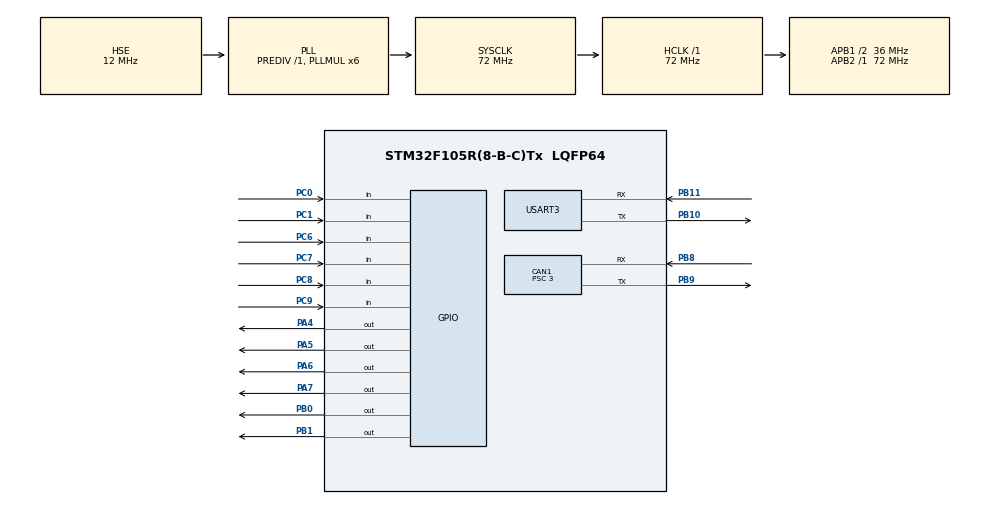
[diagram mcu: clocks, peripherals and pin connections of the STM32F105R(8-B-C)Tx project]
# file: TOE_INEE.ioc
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CAN1.ABOM=ENABLE
CAN1.BS1=CAN_BS1_6TQ
CAN1.BS2=CAN_BS2_5TQ
CAN1.CalculateTimeBit=1000
CAN1.CalculateTimeQuantum=83.33333333333334
CAN1.Prescaler=3
CAN1.TXFP=ENABLE
Dma.Request0=USART3_RX
Dma.USART3_RX.0.Direction=DMA_PERIPH_TO_MEMORY
Dma.USART3_RX.0.Instance=DMA1_Channel3
Dma.USART3_RX.0.MemDataAlignment=DMA_MDATAALIGN_BYTE
Dma.USART3_RX.0.MemInc=DMA_MINC_ENABLE
Dma.USART3_RX.0.Mode=DMA_CIRCULAR
Dma.USART3_RX.0.PeriphDataAlignment=DMA_PDATAALIGN_BYTE
Dma.USART3_RX.0.PeriphInc=DMA_PINC_DISABLE
Dma.USART3_RX.0.Priority=DMA_PRIORITY_LOW
FREERTOS.INCLUDE_vTaskDelayUntil=1
FREERTOS.Tasks01=defaultTask,-3,256,debugThread,Default,NULL,Dynamic,NULL,NULL;PidThread,-3,256,pidThread,As weak,NULL,Dynamic,NULL,NULL;MainTask,-3,256,mainThread,As weak,NULL,Dynamic,NULL,NULL;MinorTak,-3,128,minorThread,As weak,NULL,Dynamic,NULL,NULL
Mcu.Family=STM32F1
Mcu.Name=STM32F105R(8-B-C)Tx
Mcu.Package=LQFP64
NVIC.CAN1_RX0_IRQn=true\:5\:0\:false\:false\:true\:true\:true\:true
NVIC.CAN1_TX_IRQn=true\:5\:0\:false\:false\:true\:true\:true\:true
NVIC.DMA1_Channel3_IRQn=true\:5\:0\:false\:false\:true\:true\:false\:true
NVIC.PriorityGroup=NVIC_PRIORITYGROUP_4
NVIC.USART3_IRQn=true\:5\:0\:false\:false\:true\:true\:true\:true
PA13.Mode=Serial_Wire
PA13.Signal=SYS_JTMS-SWDIO
PA14.Mode=Serial_Wire
PA14.Signal=SYS_JTCK-SWCLK
PA4.Signal=GPIO_Output
PA5.Signal=GPIO_Output
PA6.Signal=GPIO_Output
PA7.Signal=GPIO_Output
PB0.GPIO_PuPd=GPIO_NOPULL
PB0.Signal=GPIO_Output
PB1.GPIO_PuPd=GPIO_NOPULL
PB1.Signal=GPIO_Output
PB10.Mode=Asynchronous
PB10.Signal=USART3_TX
PB11.Mode=Asynchronous
PB11.Signal=USART3_RX
PB8.Mode=Master
PB8.Signal=CAN1_RX
PB9.Mode=Master
PB9.Signal=CAN1_TX
PC0.Signal=GPIO_Input
PC1.Signal=GPIO_Input
PC6.GPIO_PuPd=GPIO_PULLUP
PC6.Signal=GPIO_Input
PC7.GPIO_PuPd=GPIO_PULLUP
PC7.Signal=GPIO_Input
PC8.GPIO_PuPd=GPIO_PULLUP
PC8.Signal=GPIO_Input
PC9.GPIO_PuPd=GPIO_PULLUP
PC9.Signal=GPIO_Input
PD0-OSC_IN.Mode=HSE-External-Oscillator
PD0-OSC_IN.Signal=RCC_OSC_IN
PD1-OSC_OUT.Mode=HSE-External-Oscillator
PD1-OSC_OUT.Signal=RCC_OSC_OUT
ProjectManager.HeapSize=0x200
ProjectManager.StackSize=0x400
ProjectManager.TargetToolchain=MDK-ARM V5
RCC.AHBFreq_Value=72000000
RCC.APB1CLKDivider=RCC_HCLK_DIV2
RCC.APB1Freq_Value=36000000
RCC.APB1TimFreq_Value=72000000
RCC.APB2Freq_Value=72000000
RCC.APB2TimFreq_Value=72000000
RCC.HCLKFreq_Value=72000000
RCC.HSE_VALUE=12000000
RCC.PLLMUL=RCC_PLL_MUL6
RCC.PLLSourceVirtual=RCC_PLLSOURCE_HSE
RCC.SYSCLKFreq_VALUE=72000000
RCC.SYSCLKSource=RCC_SYSCLKSOURCE_PLLCLK
RCC.USBFreq_Value=48000000
USART3.VirtualMode=VM_ASYNC
VP_FREERTOS_VS_CMSIS_V1.Mode=CMSIS_V1
board=custom

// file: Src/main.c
/* USER CODE BEGIN Header */
/**
  ******************************************************************************
  * @file           : main.c
  * @brief          : Main program body
  ******************************************************************************
  * @attention
  *
  * <h2><center>&copy; Copyright (c) 2019 STMicroelectronics.
  * All rights reserved.</center></h2>
  *
  * This software component is licensed by ST under BSD 3-Clause license,
  * the "License"; You may not use this file except in compliance with the
  * License. You may obtain a copy of the License at:
  *                        opensource.org/licenses/BSD-3-Clause
  *
  ******************************************************************************
  */
/* USER CODE END Header */

#include "main.h"
#include "cmsis_os.h"
#include "can.h"
#include "dma.h"
#include "usart.h"
#include "gpio.h"

/* USER CODE BEGIN Includes */
#include "bsp_can.h"
#include "bsp_uart.h"
/* USER CODE END Includes */

void SystemClock_Config(void);
void MX_FREERTOS_Init(void);

int main(void)
{

  /* MCU Configuration--------------------------------------------------------*/

  /* Reset of all peripherals, Initializes the Flash interface and the Systick. */
  HAL_Init();

  /* Configure the system clock */
  SystemClock_Config();

  /* Initialize all configured peripherals */
  MX_GPIO_Init();
  MX_CAN1_Init();
  MX_DMA_Init();
  MX_USART3_UART_Init();
  /* USER CODE BEGIN 2 */
  can_receive_start();
	USART_InitArgument();
	HAL_Delay(500);
  /* USER CODE END 2 */

  /* Call init function for freertos objects (in freertos.c) */
  MX_FREERTOS_Init();

  /* Start scheduler */
  osKernelStart();

  /* We should never get here as control is now taken by the scheduler */

  /* Infinite loop */
  while (1)
  {

  }
}

void SystemClock_Config(void)
{
  RCC_OscInitTypeDef RCC_OscInitStruct = {0};
  RCC_ClkInitTypeDef RCC_ClkInitStruct = {0};

  /** Initializes the CPU, AHB and APB busses clocks
  */
  RCC_OscInitStruct.OscillatorType = RCC_OSCILLATORTYPE_HSE;
  RCC_OscInitStruct.HSEState = RCC_HSE_ON;
  RCC_OscInitStruct.HSEPredivValue = RCC_HSE_PREDIV_DIV1;
  RCC_OscInitStruct.HSIState = RCC_HSI_ON;
  RCC_OscInitStruct.Prediv1Source = RCC_PREDIV1_SOURCE_HSE;
  RCC_OscInitStruct.PLL.PLLState = RCC_PLL_ON;
  RCC_OscInitStruct.PLL.PLLSource = RCC_PLLSOURCE_HSE;
  RCC_OscInitStruct.PLL.PLLMUL = RCC_PLL_MUL6;
  RCC_OscInitStruct.PLL2.PLL2State = RCC_PLL_NONE;
  if (HAL_RCC_OscConfig(&RCC_OscInitStruct) != HAL_OK)
  {
    Error_Handler();
  }
  /** Initializes the CPU, AHB and APB busses clocks
  */
  RCC_ClkInitStruct.ClockType = RCC_CLOCKTYPE_HCLK|RCC_CLOCKTYPE_SYSCLK
                              |RCC_CLOCKTYPE_PCLK1|RCC_CLOCKTYPE_PCLK2;
  RCC_ClkInitStruct.SYSCLKSource = RCC_SYSCLKSOURCE_PLLCLK;
  RCC_ClkInitStruct.AHBCLKDivider = RCC_SYSCLK_DIV1;
  RCC_ClkInitStruct.APB1CLKDivider = RCC_HCLK_DIV2;
  RCC_ClkInitStruct.APB2CLKDivider = RCC_HCLK_DIV1;

  if (HAL_RCC_ClockConfig(&RCC_ClkInitStruct, FLASH_LATENCY_2) != HAL_OK)
  {
    Error_Handler();
  }
  /** Configure the Systick interrupt time
  */
  __HAL_RCC_PLLI2S_ENABLE();
}

void Error_Handler(void)
{
}

/************************ (C) COPYRIGHT STMicroelectronics *****END OF FILE****/

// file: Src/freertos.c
/* USER CODE BEGIN Header */
/**
  ******************************************************************************
  * File Name          : freertos.c
  * Description        : Code for freertos applications
  ******************************************************************************
  * @attention
  *
  * <h2><center>&copy; Copyright (c) 2019 STMicroelectronics.
  * All rights reserved.</center></h2>
  *
  * This software component is licensed by ST under Ultimate Liberty license
  * SLA0044, the "License"; You may not use this file except in compliance with
  * the License. You may obtain a copy of the License at:
  *                             www.st.com/SLA0044
  *
  ******************************************************************************
  */
/* USER CODE END Header */

#include "FreeRTOS.h"
#include "task.h"
#include "main.h"
#include "cmsis_os.h"

/* USER CODE BEGIN Includes */
#include "bsp_can.h"
#include "bsp_uart.h"
#include "minorThread.h"
#include "logic_handle_task.h"
#include "pid.h"
/* USER CODE END Includes */

osThreadId defaultTaskHandle;
osThreadId PidThreadHandle;
osThreadId MainTaskHandle;
osThreadId MinorTakHandle;

void debugThread(void const * argument);
void pidThread(void const * argument);
void mainThread(void const * argument);
void minorThread(void const * argument);

void MX_FREERTOS_Init(void); /* (MISRA C 2004 rule 8.1) */

/* GetIdleTaskMemory prototype (linked to static allocation support) */
void vApplicationGetIdleTaskMemory( StaticTask_t **ppxIdleTaskTCBBuffer, StackType_t **ppxIdleTaskStackBuffer, uint32_t *pulIdleTaskStackSize );

/* USER CODE BEGIN GET_IDLE_TASK_MEMORY */
static StaticTask_t xIdleTaskTCBBuffer;
static StackType_t xIdleStack[configMINIMAL_STACK_SIZE];

void vApplicationGetIdleTaskMemory( StaticTask_t **ppxIdleTaskTCBBuffer, StackType_t **ppxIdleTaskStackBuffer, uint32_t *pulIdleTaskStackSize )
{
  *ppxIdleTaskTCBBuffer = &xIdleTaskTCBBuffer;
  *ppxIdleTaskStackBuffer = &xIdleStack[0];
  *pulIdleTaskStackSize = configMINIMAL_STACK_SIZE;
  /* place for user code */
}
/* USER CODE END GET_IDLE_TASK_MEMORY */

void MX_FREERTOS_Init(void) {

  /* Create the thread(s) */
  /* definition and creation of defaultTask */
  osThreadDef(defaultTask, debugThread, osPriorityIdle, 0, 256);
  defaultTaskHandle = osThreadCreate(osThread(defaultTask), NULL);

  /* definition and creation of PidThread */
  osThreadDef(PidThread, pidThread, osPriorityIdle, 0, 256);
  PidThreadHandle = osThreadCreate(osThread(PidThread), NULL);

  /* definition and creation of MainTask */
  osThreadDef(MainTask, mainThread, osPriorityIdle, 0, 256);
  MainTaskHandle = osThreadCreate(osThread(MainTask), NULL);

  /* definition and creation of MinorTak */
  osThreadDef(MinorTak, minorThread, osPriorityIdle, 0, 128);
  MinorTakHandle = osThreadCreate(osThread(MinorTak), NULL);

}

void debugThread(void const * argument)
{
  /* USER CODE BEGIN debugThread */
  /* Infinite loop */
  for(;;)
  {

#if 0
		printf("##FPS REVENLENT : ##\r\n");
		printf("fps[LeftFlip] = %d\r\n",r_fps[LeftFlip].fps);
		printf("fps[RightFlip] = %d\r\n",r_fps[RightFlip].fps);
		printf("fps[MasterID] = %d\r\n",r_fps[MasterID].fps);
		printf("fps[MidSlip] = %d\r\n",r_fps[MidSlip].fps);
#endif
#if 0
		printf("# MOTO ECD REVENLENT #: \r\n");
		//			printf("MotoData[LeftFlip] = %d \r\n",MotoData[LeftFlip].ecd);
		//			printf("MotoData[RightFlip] = %d \r\n",MotoData[RightFlip].ecd);
		printf("MotoData[MidSlip] = %d \r\n",MotoData[MidSlip].ecd);
#endif
#if 1
		printf("# LOGIC DATA REVENLENT #: \r\n");
		//			printf("MotoData[LeftFlip] = %d \r\n",MotoData[LeftFlip].ecd);
		//			printf("MotoData[RightFlip] = %d \r\n",MotoData[RightFlip].ecd);
		printf("Raw_mode = %d \r\n",logic_data.raw_mode);
		printf("moto[Slip].target = %.3f\r\n",moto_ctrl[Slip].target);
#endif
#if 1
		printf("SLIP PID REVENLENT : ##\r\n");
		printf("TargetAngle = %.2f\r\n",moto_ctrl[Slip].target);
		printf("CurrentAngle = %.2f\r\n",MotoData[MidSlip].total_angle);
		printf("AngleError = #%.2f\r\n",pid_out[Slip].errNow);
		printf("FirstCtrOut = %.2f\r\n",pid_out[Slip].ctrOut);
		printf("CurrentSpd = %df\r\n",MotoData[MidSlip].speed_rpm);	 // MotoData[RightUpLift].speed_rpm
		printf("SpdError = %.2f\r\n",pid_in[MidSlip].errNow);
		printf("FinalCtrOut = %d\r\n",(int16_t)pid_in[MidSlip].ctrOut);
#endif
    osDelay(200);
  }
  /* USER CODE END debugThread */
}

/* USER CODE BEGIN Header_pidThread */
/**
* @brief Function implementing the PidThread thread.
* @param argument: Not used
* @retval None
*/
extern uint8_t canFlag;

/* USER CODE END Header_pidThread */
__weak void pidThread(void const * argument)
{
  /* USER CODE BEGIN pidThread */
  /* Infinite loop */
  for(;;)
  {
	if(canFlag == SET)
	CAN1_Send_Current(0x200,400,400,400,0);
			osDelay(5);
  }
  /* USER CODE END pidThread */
}

__weak void mainThread(void const * argument)
{
  /* USER CODE BEGIN mainThread */
  /* Infinite loop */
  for(;;)
  {

    osDelay(1000);
  }
  /* USER CODE END mainThread */
}

__weak void minorThread(void const * argument)
{
  for(;;)
  {
    osDelay(1);
  }
}

/************************ (C) COPYRIGHT STMicroelectronics *****END OF FILE****/
